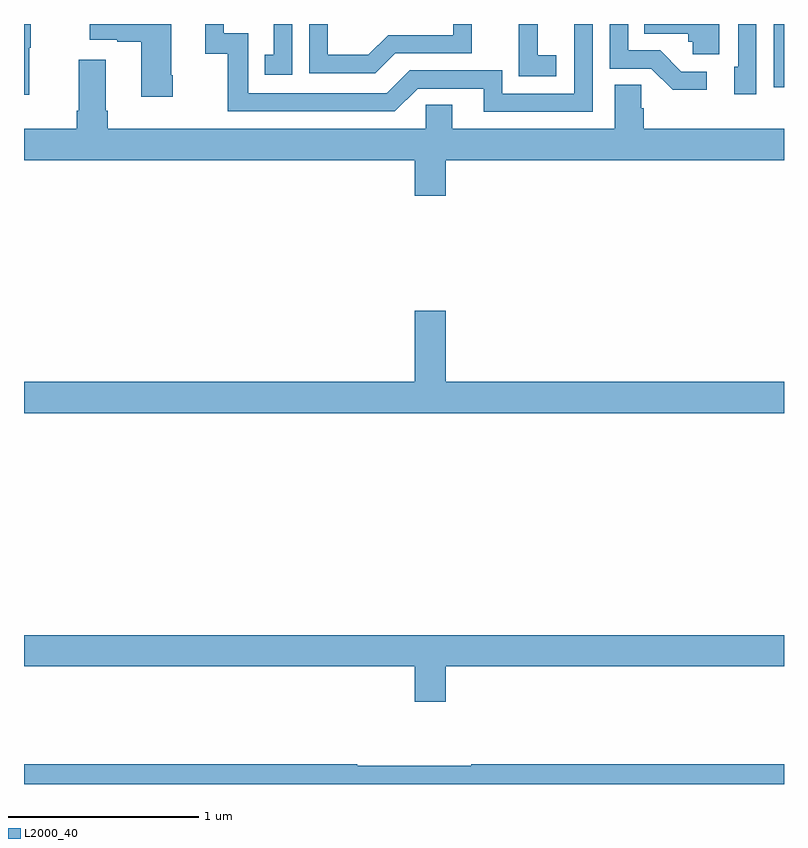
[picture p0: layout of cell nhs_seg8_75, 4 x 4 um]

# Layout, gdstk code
import gdstk
lib = gdstk.Library(unit=1e-6, precision=1e-09)
def R(c, l, rs):  # rectangles x0, y0, x1, y1
    for r in rs: c.add(gdstk.rectangle(r[:2], r[2:], *l))
def P(c, l, *ps):  # polygons
    for p in ps: c.add(gdstk.Polygon(p, *l))
L2000_40 = (2000, 40)

nhs_seg8_75 = lib.new_cell('nhs_seg8_75')
R(nhs_seg8_75, L2000_40, [(118.947,1099.566,119,1099.9)])
P(nhs_seg8_75, L2000_40, [(117.993,1099.9),(117.897,1099.9),(117.897,1099.533),(117.516,1099.533),(117.516,1099.656),(117.03,1099.656),(116.91,1099.536),(116.181,1099.536),(116.181,1099.851),(116.052,1099.851),(116.052,1099.9),(115.955,1099.9),(115.955,1099.743),(116.073,1099.743),(116.073,1099.44),(116.952,1099.44),(117.072,1099.56),(117.419,1099.56),(117.419,1099.437),(117.993,1099.437)],
  [(115.782,1099.63),(115.774,1099.63),(115.774,1099.9),(115.347,1099.9),(115.347,1099.817),(115.49,1099.817),(115.49,1099.807),(115.616,1099.807),(115.616,1099.518),(115.782,1099.518)],
  [(116.412,1099.9),(116.315,1099.9),(116.315,1099.737),(116.266,1099.737),(116.266,1099.632),(116.412,1099.632)],
  [(116.953,1099.746),(117.357,1099.746),(117.357,1099.9),(117.258,1099.9),(117.258,1099.842),(116.916,1099.842),(116.812,1099.738),(116.598,1099.738),(116.598,1099.9),(116.502,1099.9),(116.502,1099.641),(116.848,1099.641)],
  [(118.594,1099.65),(118.459,1099.65),(118.348,1099.761),(118.179,1099.761),(118.179,1099.9),(118.083,1099.9),(118.083,1099.665),(118.302,1099.665),(118.415,1099.553),(118.594,1099.553)],
  [(118.66,1099.9),(118.264,1099.9),(118.264,1099.85),(118.495,1099.85),(118.495,1099.806),(118.521,1099.806),(118.521,1099.742),(118.66,1099.742)],
  [(117.802,1099.735),(117.704,1099.735),(117.704,1099.9),(117.605,1099.9),(117.605,1099.831),(117.604,1099.831),(117.604,1099.625),(117.802,1099.625)],
  [(118.854,1099.9),(118.758,1099.9),(118.758,1099.674),(118.739,1099.674),(118.739,1099.53),(118.854,1099.53)],
  [(115.028,1099.776),(115.036,1099.776),(115.036,1099.9),(115,1099.9),(115,1099.527),(115.028,1099.527)],
  [(117.22,1099.184),(119,1099.184),(119,1099.348),(118.262,1099.348),(118.262,1099.457),(118.248,1099.457),(118.248,1099.58),(118.109,1099.58),(118.109,1099.348),(117.253,1099.348),(117.253,1099.475),(117.114,1099.475),(117.114,1099.348),(115.442,1099.348),(115.442,1099.444),(115.429,1099.444),(115.429,1099.711),(115.289,1099.711),(115.289,1099.444),(115.277,1099.444),(115.277,1099.348),(115,1099.348),(115,1099.184),(117.056,1099.184),(117.056,1098.996),(117.22,1098.996)],
  [(119,1098.016),(117.22,1098.016),(117.22,1098.391),(117.056,1098.391),(117.056,1098.016),(115,1098.016),(115,1097.852),(119,1097.852)],
  [(117.22,1096.52),(119,1096.52),(119,1096.684),(115,1096.684),(115,1096.52),(117.056,1096.52),(117.056,1096.332),(117.22,1096.332)],
  [(119,1096.004),(117.353,1096.004),(117.353,1095.997),(116.753,1095.997),(116.753,1096.004),(115,1096.004),(115,1095.9),(119,1095.9)])

lib.write_gds('nhs_seg8_75.gds')
